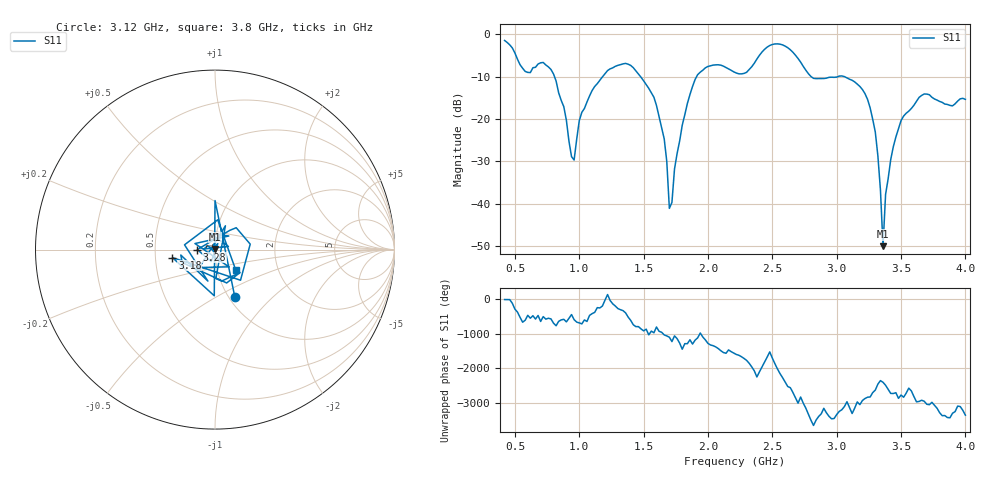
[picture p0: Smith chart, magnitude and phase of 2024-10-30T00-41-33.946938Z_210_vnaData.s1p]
!Created with skrf (http://scikit-rf.org).
# Hz S RI R 50.0
!freq ReS11 ImS11
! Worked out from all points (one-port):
!   180 points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, 420 MHz to 4 GHz, reference 50 ohm
!   lowest |S11| = -50.0 dB at 3.36 GHz (marker M1), VSWR 1.01, Z = 49.8 + j0.276 ohm
!   |S11| at or under -10 dB: 807.3 MHz to 1.182 GHz (374.7 MHz wide, 37.7 % of centre); 1.475 GHz to 1.912 GHz (436.8 MHz wide, 25.8 % of centre); 3.059 GHz to end of sweep (the widest 3 of 4)
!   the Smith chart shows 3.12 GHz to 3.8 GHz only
!   S11 on the Smith chart (normalised r, x): 3.12 GHz: 1.07, -0.61; 3.18 GHz: 0.61, -0.06; 3.28 GHz: 0.82, +0.00; 3.8 GHz: 1.22, -0.28
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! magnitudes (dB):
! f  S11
! 420 MHz  -1.5
! 580 MHz  -8.8
! 780 MHz  -8.3
! 880 MHz  -17.1
! 960 MHz  -29.7
! 1 GHz  -20.4
! 1.1 GHz  -13.3
! 1.32 GHz  -7.2
! 1.58 GHz  -14.9
! 1.66 GHz  -24.7
! 1.7 GHz  -41.1
! 1.78 GHz  -25.2
! 1.92 GHz  -9.6
! 2.22 GHz  -9.2
! 2.5 GHz  -2.4
! 2.66 GHz  -4.3
! 2.82 GHz  -10.4
! 3.12 GHz  -10.9
! 3.18 GHz  -12.3
! 3.28 GHz  -20.1
! 3.32 GHz  -28.7
! 3.36 GHz  -50.0
! 3.38 GHz  -37.8
! 3.42 GHz  -29.6
! 3.56 GHz  -18.2
! 3.68 GHz  -14.1
! 3.8 GHz  -15.9
! 4 GHz  -15.4
